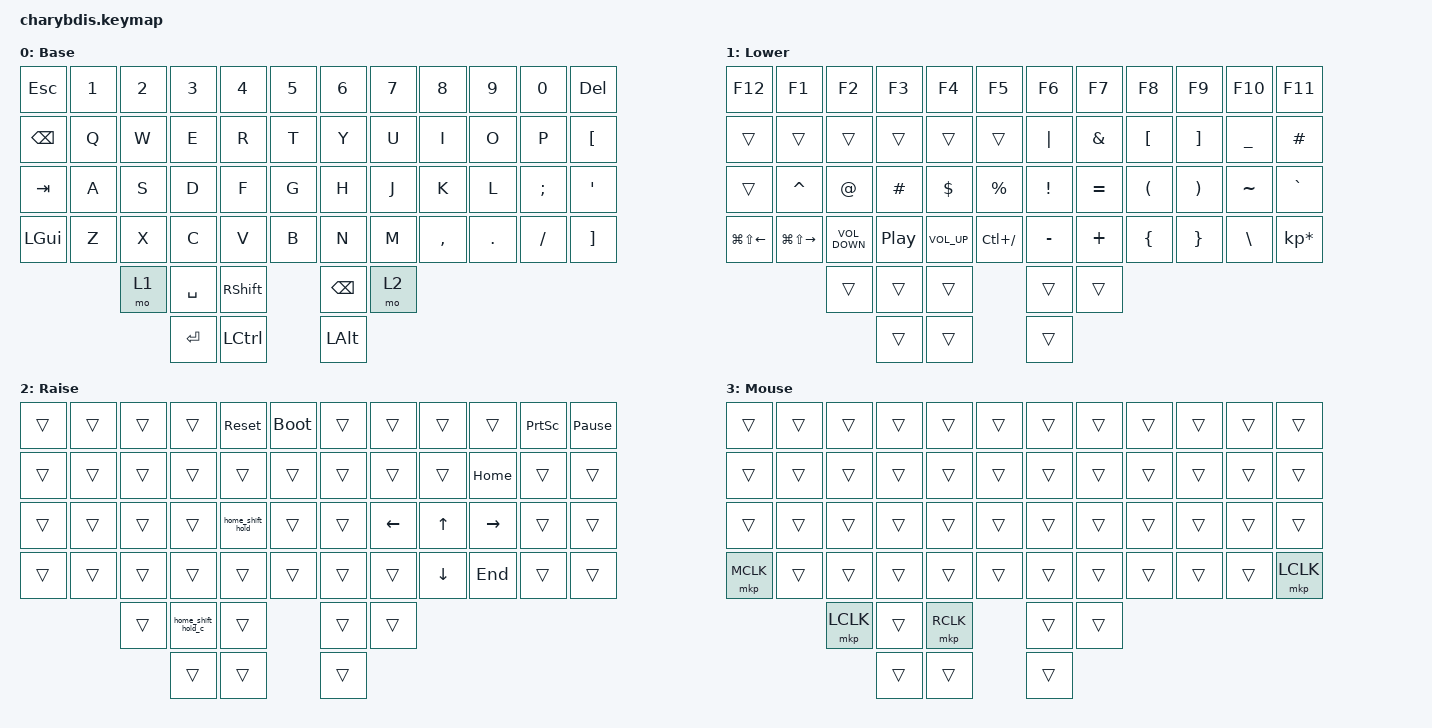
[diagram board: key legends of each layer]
#include <behaviors.dtsi>
#include <dt-bindings/zmk/bt.h>
#include <dt-bindings/zmk/keys.h>
#include <dt-bindings/zmk/mouse.h>
#include <dt-bindings/zmk/outputs.h>
#include <behaviors/mouse_keys.dtsi>
#include <dt-bindings/zmk/ext_power.h>


/ {
    combos {
        compatible = "zmk,combos";

        ParaLeft {
            bindings = <&kp LEFT_PARENTHESIS>;
            key-positions = <4 16>;
        };
    };
 
    trackball_listener {
        compatible = "zmk,input-behavior-listener";
        device = <&vtrackball>;
        layers = <0 2 3>;
        evt-type = <INPUT_EV_REL>;            
        x-input-code = <INPUT_REL_X>;
        y-input-code = <INPUT_REL_Y>;
        scale-multiplier = <1>;
        scale-divisor = <1>;
        bindings = <&ib_toggle_layer 3>;
    };

    trackball_snipe_listener {
        compatible = "zmk,input-behavior-listener";
        device = <&vtrackball>;
        layers = <>;
        evt-type = <INPUT_EV_REL>;
        x-input-code = <INPUT_REL_X>;
        y-input-code = <INPUT_REL_Y>;
        scale-multiplier = <1>;
        scale-divisor = <4>;
    };

    trackball_scroll_listener {
        compatible = "zmk,input-behavior-listener";
        device = <&vtrackball>;
        layers = <1>;
        evt-type = <INPUT_EV_REL>;
        x-input-code = <INPUT_REL_MISC>;
        y-input-code = <INPUT_REL_WHEEL>;
        y-invert;
        bindings = <&ib_wheel_scaler 1 16>;
    };

    ib_wheel_scaler: ib_wheel_scaler {
        compatible = "zmk,input-behavior-scaler";
        #binding-cells = <2>;
        evt-type = <INPUT_EV_REL>;
        input-code = <INPUT_REL_WHEEL>;
    };

    ib_toggle_layer: ib_toggle_layer {
        compatible = "zmk,input-behavior-tog-layer";
        #binding-cells = <1>;
        time-to-live-ms = <1000>;
    };

    macros {
        home_shift_hold_c: home_shift_hold_c {
            compatible = "zmk,behavior-macro";
            #binding-cells = <0>;
            bindings
                = <&macro_tap &kp HOME &kp HOME>
                , <&macro_press &kp LSHFT>
                , <&macro_pause_for_release>
                , <&macro_release &kp LSHFT>
                , <&macro_tap &kp LC(C)>
                ;
        };

    home_shift_hold: home_shift_hold {
            compatible = "zmk,behavior-macro";
            #binding-cells = <0>;
            bindings
                = <&macro_tap &kp HOME &kp HOME>
                , <&macro_press &kp LSHFT>
                , <&macro_pause_for_release>
                , <&macro_release &kp LSHFT>
                ;
        };
    };

    behaviors {
        lt: layer_tap {
            compatible = "zmk,behavior-hold-tap";
            #binding-cells = <2>;
            flavor = "balanced";
            tapping-term-ms = <240>;
            quick-tap-ms = <150>;
            bindings = <&mo>, <&kp>;
        };

       
    };

    keymap {
        compatible = "zmk,keymap";

        Base {
            label = "Base";
            display-name = "Base";
            bindings = <
&kp ESC             &kp N1  &kp N2  &kp N3  &kp N4     &kp N5        &kp N6         &kp N7  &kp N8     &kp N9   &kp N0    &kp DELETE
&kp BACKSPACE       &kp Q   &kp W   &kp E   &kp R      &kp T         &kp Y          &kp U   &kp I      &kp O    &kp P     &kp LEFT_BRACKET
&kp TAB             &kp A   &kp S   &kp D   &kp F      &kp G         &kp H          &kp J   &kp K      &kp L    &kp SEMI  &kp APOS
&kp LEFT_GUI        &kp Z   &kp X   &kp C   &kp V      &kp B         &kp N          &kp M   &kp COMMA  &kp DOT  &kp FSLH  &kp RIGHT_BRACKET
                              &mo 1   &kp SPACE  &kp RSHIFT    &kp BACKSPACE  &mo 2
                                      &kp RET    &kp LCTRL     &kp LEFT_ALT
            >;
        };

        Lower {
            label = "Lower";
            display-name = "Lower";
            bindings = <
&kp F12            &kp F1               &kp F2             &kp F3              &kp F4            &kp F5            &kp F6         &kp F7     &kp F8    &kp F9    &kp F10    &kp F11
&trans             &trans               &trans             &trans              &trans            &trans            &kp PIPE       &kp AMPS   &kp LBKT  &kp RBKT  &kp UNDER  &kp HASH
&trans             &kp CARET            &kp AT             &kp HASH            &kp DLLR          &kp PRCNT         &kp EXCL       &kp EQUAL  &kp LPAR  &kp RPAR  &kp TILDE   &kp GRAVE
&kp LG(LS(LEFT))   &kp LG(LS(RIGHT))    &kp C_VOLUME_DOWN  &kp C_PLAY_PAUSE    &kp C_VOLUME_UP   &kp LC(FSLH)      &kp MINUS      &kp PLUS   &kp LBRC  &kp RBRC  &kp BSLH   &kp KP_MULTIPLY
                           &trans    &trans    &trans                                    &trans           &trans
                                     &trans    &trans                                    &trans
            >;
        };

        Raise {
            label = "Raise";
            display-name = "Raise";
            bindings = <
&trans  &trans  &trans  &trans  &sys_reset             &bootloader    &trans  &trans    &trans        &trans     &kp PRINTSCREEN  &kp PAUSE_BREAK
&trans  &trans  &trans  &trans  &trans                 &trans         &trans  &trans    &trans        &kp HOME   &trans           &trans
&trans  &trans  &trans  &trans  &home_shift_hold       &trans         &trans  &kp LEFT  &kp UP_ARROW  &kp RIGHT  &trans           &trans
&trans  &trans  &trans  &trans  &trans                 &trans         &trans  &trans    &kp DOWN      &kp END    &trans           &trans
                        &trans  &home_shift_hold_c     &trans         &trans  &trans
                                &trans                 &trans         &trans
            >;
        };

        Mouse {
            display-name = "Mouse";
            bindings = <
&trans     &trans  &trans  &trans     &trans  &trans       &trans  &trans  &trans  &trans  &trans  &trans
&trans     &trans  &trans  &trans     &trans  &trans       &trans  &trans  &trans  &trans  &trans  &trans
&trans     &trans  &trans  &trans     &trans  &trans       &trans  &trans  &trans  &trans  &trans  &trans
&mkp MCLK  &trans  &trans  &trans     &trans  &trans       &trans  &trans  &trans  &trans  &trans  &mkp LCLK
                           &mkp LCLK  &trans  &mkp RCLK    &trans  &trans
                                      &trans  &trans       &trans
            >;
        };
    };
};
